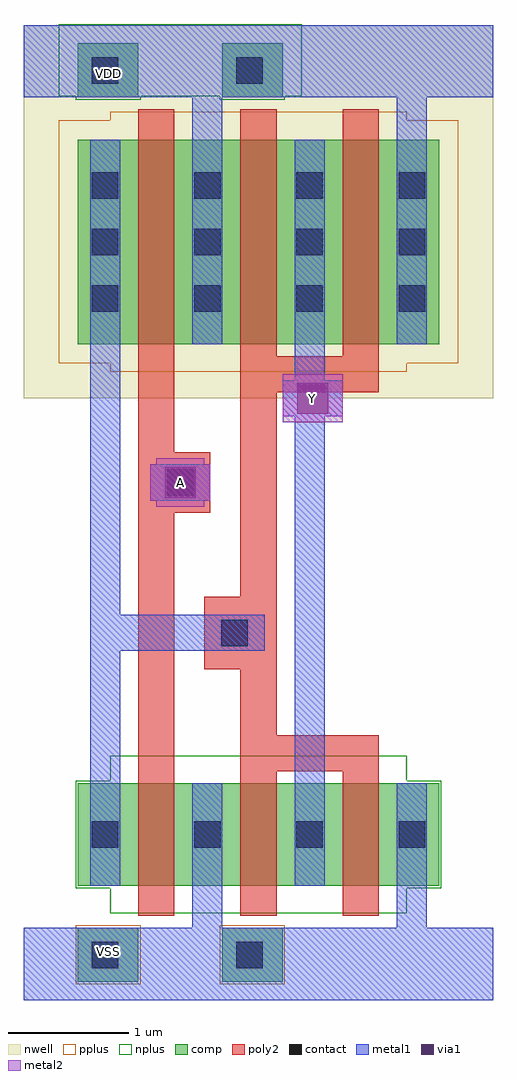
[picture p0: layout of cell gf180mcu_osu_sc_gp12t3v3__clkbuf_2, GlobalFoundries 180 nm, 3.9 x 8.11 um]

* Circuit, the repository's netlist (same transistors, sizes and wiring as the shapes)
* Copyright 2022 Google LLC
*
* Licensed under the Apache License, Version 2.0 (the "License");
* you may not use this file except in compliance with the License.
* You may obtain a copy of the License at
*
*      http://www.apache.org/licenses/LICENSE-2.0
*
* Unless required by applicable law or agreed to in writing, software
* distributed under the License is distributed on an "AS IS" BASIS,
* WITHOUT WARRANTIES OR CONDITIONS OF ANY KIND, either express or implied.
* See the License for the specific language governing permissions and
* limitations under the License.

.inc "/import/yukari1/lrburle/OSU_180/char/techfiles/design.hspice"
.lib "/import/yukari1/lrburle/OSU_180/char/techfiles/sm141064.hspice" typical

.GLOBAL VDD
.GLOBAL VSS

.option scale=0.05u

.subckt gf180mcu_osu_sc_gp12t3v3__clkbuf_2 A Y
X0 VDD a_9_19 Y VDD pmos_3p3 w=34 l=6
X1 Y a_9_19 VDD VDD pmos_3p3 w=34 l=6
X2 VDD A a_9_19 VDD pmos_3p3 w=34 l=6
X3 VSS a_9_19 Y VSS nmos_3p3 w=17 l=6
X4 VSS A a_9_19 VSS nmos_3p3 w=17 l=6
X5 Y a_9_19 VSS VSS nmos_3p3 w=17 l=6
.ends

** hspice subcircuit dictionary

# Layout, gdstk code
import gdstk
lib = gdstk.Library(unit=1e-6, precision=1e-09)
def R(c, l, rs):  # rectangles x0, y0, x1, y1
    for r in rs: c.add(gdstk.rectangle(r[:2], r[2:], *l))
def A(c, l, x, y, w, h, nx, ny, dx, dy):  # array of equal rectangles
    R(c, l, [(x+i*dx, y+j*dy, x+i*dx+w, y+j*dy+h) for i in range(nx) for j in range(ny)])
nwell = (21, 0)
comp = (22, 0)
poly2 = (30, 0)
pplus = (31, 0)
nplus = (32, 0)
contact = (33, 0)
metal1 = (34, 0)
via1 = (35, 0)
metal2 = (36, 0)

gf180mcu_osu_sc_gp12t3v3 = lib.new_cell('gf180mcu_osu_sc_gp12t3v3__clkbuf_2')
R(gf180mcu_osu_sc_gp12t3v3, nwell, [(0,5,3.9,8.1)])
R(gf180mcu_osu_sc_gp12t3v3, comp, [(0.45,0.15,0.95,0.6), (1.65,0.15,2.15,0.6), (0.45,0.95,3.45,1.8), (0.45,5.45,3.45,7.15), (0.45,7.5,0.95,7.95), (1.65,7.5,2.15,7.95)])
R(gf180mcu_osu_sc_gp12t3v3, poly2, [(0.95,0.7,1.25,4.05), (1.8,0.7,2.1,1.9), (2.65,0.7,2.95,1.9), (1.8,1.9,2.95,2.2), (1.8,2.2,2.1,2.75), (1.5,2.75,2.1,3.35), (1.8,3.35,2.1,5.05), (0.95,4.05,1.55,4.55), (0.95,4.55,1.25,7.4), (1.8,5.05,2.95,5.35), (1.8,5.35,2.1,7.4), (2.65,5.35,2.95,7.4)])
R(gf180mcu_osu_sc_gp12t3v3, pplus, [(0.43,0.13,0.97,0.62), (1.63,0.13,2.17,0.62), (0.72,5.22,3.18,5.29), (0.29,5.29,3.61,7.31), (0.72,7.31,3.18,7.38)])
R(gf180mcu_osu_sc_gp12t3v3, nplus, [(0.72,0.72,3.18,0.93), (0.43,0.93,3.47,1.82), (0.72,1.82,3.18,2.03), (0.43,7.48,0.97,7.51), (1.63,7.48,2.17,7.51), (0.29,7.51,2.31,8.11)])
A(gf180mcu_osu_sc_gp12t3v3, contact, 0.565, 1.265, 0.22, 0.22, 4, 2, 0.85, 4.455)
A(gf180mcu_osu_sc_gp12t3v3, contact, 0.565, 6.19, 0.22, 0.22, 4, 2, 0.85, 0.47)
R(gf180mcu_osu_sc_gp12t3v3, contact, [(0.565,0.265,0.785,0.485), (1.765,0.265,1.985,0.485), (1.64,2.94,1.86,3.16), (1.19,4.19,1.41,4.41), (0.565,7.615,0.785,7.835), (1.765,7.615,1.985,7.835)])
R(gf180mcu_osu_sc_gp12t3v3, metal1, [(0,0,3.9,0.6), (1.4,0.6,1.65,1.8), (3.1,0.6,3.35,1.8), (0.55,0.95,0.8,2.9), (2.25,0.95,2.5,4.85), (0.55,2.9,2,3.2), (0.55,3.2,0.8,7.15), (1.05,4.15,1.55,4.45), (2.15,4.85,2.65,5.15), (2.25,5.15,2.5,7.15), (1.4,5.45,1.65,7.5), (3.1,5.45,3.35,7.5), (0,7.5,3.9,8.1)])
R(gf180mcu_osu_sc_gp12t3v3, via1, [(1.17,4.17,1.43,4.43), (2.27,4.87,2.53,5.13)])
R(gf180mcu_osu_sc_gp12t3v3, metal2, [(1.1,4.1,1.5,4.15), (1.05,4.15,1.55,4.45), (1.1,4.45,1.5,4.5), (2.15,4.8,2.65,5.2)])
gf180mcu_osu_sc_gp12t3v3.add(gdstk.Label('VDD', (0.7,7.7), layer=34, texttype=0))
gf180mcu_osu_sc_gp12t3v3.add(gdstk.Label('VSS', (0.7,0.4), layer=34, texttype=0))
gf180mcu_osu_sc_gp12t3v3.add(gdstk.Label('A', (1.3,4.3), layer=36, texttype=10))
gf180mcu_osu_sc_gp12t3v3.add(gdstk.Label('Y', (2.4,5), layer=36, texttype=10))

lib.write_gds('gf180mcu_osu_sc_gp12t3v3__clkbuf_2.gds')
